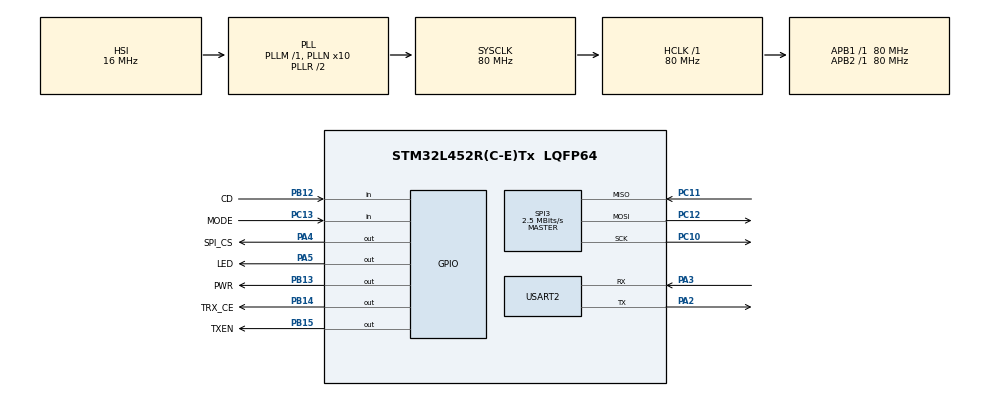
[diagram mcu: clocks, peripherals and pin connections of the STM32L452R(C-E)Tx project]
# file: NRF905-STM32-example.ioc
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Mcu.Family=STM32L4
Mcu.Name=STM32L452R(C-E)Tx
Mcu.Package=LQFP64
NVIC.PriorityGroup=NVIC_PRIORITYGROUP_4
PA13\ (JTMS/SWDIO).Mode=Trace_Asynchronous_SW
PA13\ (JTMS/SWDIO).Signal=SYS_JTMS-SWDIO
PA14\ (JTCK/SWCLK).Mode=Trace_Asynchronous_SW
PA14\ (JTCK/SWCLK).Signal=SYS_JTCK-SWCLK
PA2.Mode=Asynchronous
PA2.Signal=USART2_TX
PA3.Mode=Asynchronous
PA3.Signal=USART2_RX
PA4.GPIO_Label=SPI_CS
PA4.Signal=GPIO_Output
PA5.GPIO_Label=LED
PA5.Signal=GPIO_Output
PB12.GPIO_Label=CD
PB12.Signal=GPIO_Input
PB13.GPIO_Label=PWR
PB13.Signal=GPIO_Output
PB14.GPIO_Label=TRX_CE
PB14.Signal=GPIO_Output
PB15.GPIO_Label=TXEN
PB15.Signal=GPIO_Output
PB3\ (JTDO/TRACESWO).Mode=Trace_Asynchronous_SW
PB3\ (JTDO/TRACESWO).Signal=SYS_JTDO-SWO
PC10.Mode=Full_Duplex_Master
PC10.Signal=SPI3_SCK
PC11.Mode=Full_Duplex_Master
PC11.Signal=SPI3_MISO
PC12.Mode=Full_Duplex_Master
PC12.Signal=SPI3_MOSI
PC13.GPIO_Label=MODE
PC13.Signal=GPIO_Input
ProjectManager.HeapSize=0x200
ProjectManager.StackSize=0x400
ProjectManager.TargetToolchain=STM32CubeIDE
RCC.ADCFreq_Value=64000000
RCC.AHBFreq_Value=80000000
RCC.APB1Freq_Value=80000000
RCC.APB1TimFreq_Value=80000000
RCC.APB2Freq_Value=80000000
RCC.APB2TimFreq_Value=80000000
RCC.CortexFreq_Value=80000000
RCC.HCLKFreq_Value=80000000
RCC.HSE_VALUE=8000000
RCC.HSI48_VALUE=48000000
RCC.HSI_VALUE=16000000
RCC.LSE_VALUE=32768
RCC.MSI_VALUE=4000000
RCC.PLLN=10
RCC.PLLSourceVirtual=RCC_PLLSOURCE_HSI
RCC.SYSCLKFreq_VALUE=80000000
RCC.SYSCLKSource=RCC_SYSCLKSOURCE_PLLCLK
RCC.USBFreq_Value=64000000
RCC.VCOOutputFreq_Value=160000000
SPI3.BaudRatePrescaler=SPI_BAUDRATEPRESCALER_32
SPI3.CalculateBaudRate=2.5 MBits/s
SPI3.DataSize=SPI_DATASIZE_8BIT
SPI3.Direction=SPI_DIRECTION_2LINES
SPI3.Mode=SPI_MODE_MASTER
SPI3.VirtualType=VM_MASTER
TIM1.AutoReloadPreload=TIM_AUTORELOAD_PRELOAD_DISABLE
TIM1.ClockDivision=TIM_CLOCKDIVISION_DIV1
TIM1.CounterMode=TIM_COUNTERMODE_UP
TIM1.Period=0xFFFF
TIM1.Prescaler=79
TIM1.TIM_MasterOutputTrigger=TIM_TRGO_RESET
TIM1.TIM_MasterSlaveMode=TIM_MASTERSLAVEMODE_DISABLE
USART2.VirtualMode-Asynchronous=VM_ASYNC
VP_TIM1_VS_ClockSourceINT.Mode=Internal
board=custom

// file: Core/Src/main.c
/* USER CODE BEGIN Header */
/*
 * Author: Wojciech Domski
 * WWW: domski.pl
 *
 */
/**
 ******************************************************************************
 * @file           : main.c
 * @brief          : Main program body
 ******************************************************************************
 * @attention
 *
 * <h2><center>&copy; Copyright (c) 2020 STMicroelectronics.
 * All rights reserved.</center></h2>
 *
 * This software component is licensed by ST under BSD 3-Clause license,
 * the "License"; You may not use this file except in compliance with the
 * License. You may obtain a copy of the License at:
 *                        opensource.org/licenses/BSD-3-Clause
 *
 ******************************************************************************
 */
/* USER CODE END Header */
#include "main.h"
#include "spi.h"
#include "tim.h"
#include "usart.h"
#include "gpio.h"

/* USER CODE BEGIN Includes */

#include <stdio.h>
#include <stdlib.h>

#include "NRF905.h"

/* USER CODE END Includes */

/* USER CODE BEGIN PV */
/* Private variables ---------------------------------------------------------*/

/* USER CODE END PV */

void SystemClock_Config(void);
/* USER CODE BEGIN PFP */
/* Private function prototypes -----------------------------------------------*/

int _write(int file, char *ptr, int len) {
	HAL_UART_Transmit(&huart2, (uint8_t*) ptr, len, 50);
	for (int i = 0; i < len; i++) {
		ITM_SendChar(*ptr++);
	}
	return len;
}

/* USER CODE END PFP */

/* USER CODE BEGIN 0 */

NRF905_hw_t NRF905_hw;
NRF905_t NRF905;

int master;
int ret;

char buffer[64];
char nrf905_payload_buffer[NRF905_MAX_PAYLOAD + 1];

int message;
int message_length;

uint32_t my_address;
uint32_t receiver_address;

#define ADDRESS_MASTER 0x25D34478
#define ADDRESS_SLAVE  0x6DA0C59B

/* USER CODE END 0 */

int main(void)
{

  /* MCU Configuration--------------------------------------------------------*/

  /* Reset of all peripherals, Initializes the Flash interface and the Systick. */
  HAL_Init();

  /* Configure the system clock */
  SystemClock_Config();

  /* Initialize all configured peripherals */
  MX_GPIO_Init();
  MX_TIM1_Init();
  MX_USART2_UART_Init();
  MX_SPI3_Init();
  /* USER CODE BEGIN 2 */

	uint32_t uid = 0x00;
	for (uint8_t i = 0; i < 3; ++i) {
		uid += *(uint32_t*) (UID_BASE + i * 4);
	}
	srand(uid);

	NRF905_hw.gpio[NRF905_HW_GPIO_TXEN].pin = TXEN_Pin;
	NRF905_hw.gpio[NRF905_HW_GPIO_TXEN].port = TXEN_GPIO_Port;
	NRF905_hw.gpio[NRF905_HW_GPIO_TRX_EN].pin = TRX_CE_Pin;
	NRF905_hw.gpio[NRF905_HW_GPIO_TRX_EN].port = TRX_CE_GPIO_Port;
	NRF905_hw.gpio[NRF905_HW_GPIO_PWR].pin = PWR_Pin;
	NRF905_hw.gpio[NRF905_HW_GPIO_PWR].port = PWR_GPIO_Port;

	NRF905_hw.gpio[NRF905_HW_GPIO_CD].pin = CD_Pin;
	NRF905_hw.gpio[NRF905_HW_GPIO_CD].port = CD_GPIO_Port;
	NRF905_hw.gpio[NRF905_HW_GPIO_AM].pin = 0;
	NRF905_hw.gpio[NRF905_HW_GPIO_AM].port = NULL;
	NRF905_hw.gpio[NRF905_HW_GPIO_DR].pin = 0;
	NRF905_hw.gpio[NRF905_HW_GPIO_DR].port = NULL;

	NRF905_hw.gpio[NRF905_HW_GPIO_CS].pin = SPI_CS_Pin;
	NRF905_hw.gpio[NRF905_HW_GPIO_CS].port = SPI_CS_GPIO_Port;

	NRF905_hw.tim = &htim1;
	NRF905_hw.spi = &hspi3;

	master = HAL_GPIO_ReadPin(MODE_GPIO_Port, MODE_Pin);
	if (master == 1) {
		my_address = ADDRESS_MASTER;
		receiver_address = ADDRESS_SLAVE;
	} else {
		my_address = ADDRESS_SLAVE;
		receiver_address = ADDRESS_MASTER;
	}

	if (master == 1) {
		printf("Mode: Master, TX, %08lX\r\n", my_address);
		HAL_GPIO_WritePin(LED_GPIO_Port, LED_Pin, GPIO_PIN_RESET);
	} else {
		printf("Mode: Slave, RX, %08lX\r\n", my_address);
		HAL_GPIO_WritePin(LED_GPIO_Port, LED_Pin, GPIO_PIN_SET);
	}

	NRF905_init(&NRF905, &NRF905_hw);
	NRF905_set_listen_address(&NRF905, receiver_address);

	printf("Reg conf: ");
	for (int i = 0; i < 10; ++i) {
		uint8_t d = NRF905_read_config_register(&NRF905, i);
		printf("%02X, ", d);
	}
	printf("\r\n");

  /* USER CODE END 2 */

  /* Infinite loop */
  /* USER CODE BEGIN WHILE */
	int c = 0;
	while (1) {

		uint8_t len = sprintf(nrf905_payload_buffer, "Hello %d, from %08lX!", c,
				my_address);
		printf("Sending (%d): %s\r\n", len, nrf905_payload_buffer);
		int ret = NRF905_tx(&NRF905, my_address, nrf905_payload_buffer, 32,
				NRF905_NEXTMODE_RX);
		printf("ret = %d\r\n", ret);

		printf("Switching to RX (%08lX)\r\n", my_address);
		NRF905_rx(&NRF905);
		uint32_t wait = rand() % 21 + 20;
		printf("Waiting for max %ld ms\r\n", wait * 100);
		uint8_t response_ok = 0;
		for (int i = 0; i < wait; ++i) {
			uint8_t state_DR = NRF905_data_ready(&NRF905);
			uint8_t state_AM = NRF905_address_matched(&NRF905);

			if (state_DR && state_AM) {
				NRF905_read(&NRF905, nrf905_payload_buffer, NRF905_MAX_PAYLOAD);
				nrf905_payload_buffer[NRF905_MAX_PAYLOAD] = 0x00;
				printf("Received: %s\r\n", nrf905_payload_buffer);
				printf("Switching to TX (%08lX)\r\n", my_address);
				response_ok = 1;
				break;
			}

			HAL_Delay(100);
		}
		if (response_ok == 0) {
			printf("No response\r\n");
		}

		++c;
		HAL_Delay(2000);
    /* USER CODE END WHILE */

	}
}

void SystemClock_Config(void)
{
  RCC_OscInitTypeDef RCC_OscInitStruct = {0};
  RCC_ClkInitTypeDef RCC_ClkInitStruct = {0};

  /** Configure the main internal regulator output voltage
  */
  if (HAL_PWREx_ControlVoltageScaling(PWR_REGULATOR_VOLTAGE_SCALE1) != HAL_OK)
  {
    Error_Handler();
  }
  /** Initializes the RCC Oscillators according to the specified parameters
  * in the RCC_OscInitTypeDef structure.
  */
  RCC_OscInitStruct.OscillatorType = RCC_OSCILLATORTYPE_HSI;
  RCC_OscInitStruct.HSIState = RCC_HSI_ON;
  RCC_OscInitStruct.HSICalibrationValue = RCC_HSICALIBRATION_DEFAULT;
  RCC_OscInitStruct.PLL.PLLState = RCC_PLL_ON;
  RCC_OscInitStruct.PLL.PLLSource = RCC_PLLSOURCE_HSI;
  RCC_OscInitStruct.PLL.PLLM = 1;
  RCC_OscInitStruct.PLL.PLLN = 10;
  RCC_OscInitStruct.PLL.PLLP = RCC_PLLP_DIV7;
  RCC_OscInitStruct.PLL.PLLQ = RCC_PLLQ_DIV2;
  RCC_OscInitStruct.PLL.PLLR = RCC_PLLR_DIV2;
  if (HAL_RCC_OscConfig(&RCC_OscInitStruct) != HAL_OK)
  {
    Error_Handler();
  }
  /** Initializes the CPU, AHB and APB buses clocks
  */
  RCC_ClkInitStruct.ClockType = RCC_CLOCKTYPE_HCLK|RCC_CLOCKTYPE_SYSCLK
                              |RCC_CLOCKTYPE_PCLK1|RCC_CLOCKTYPE_PCLK2;
  RCC_ClkInitStruct.SYSCLKSource = RCC_SYSCLKSOURCE_PLLCLK;
  RCC_ClkInitStruct.AHBCLKDivider = RCC_SYSCLK_DIV1;
  RCC_ClkInitStruct.APB1CLKDivider = RCC_HCLK_DIV1;
  RCC_ClkInitStruct.APB2CLKDivider = RCC_HCLK_DIV1;

  if (HAL_RCC_ClockConfig(&RCC_ClkInitStruct, FLASH_LATENCY_4) != HAL_OK)
  {
    Error_Handler();
  }
}

void Error_Handler(void)
{
	while (1) {
	}
}

/************************ (C) COPYRIGHT STMicroelectronics *****END OF FILE****/
